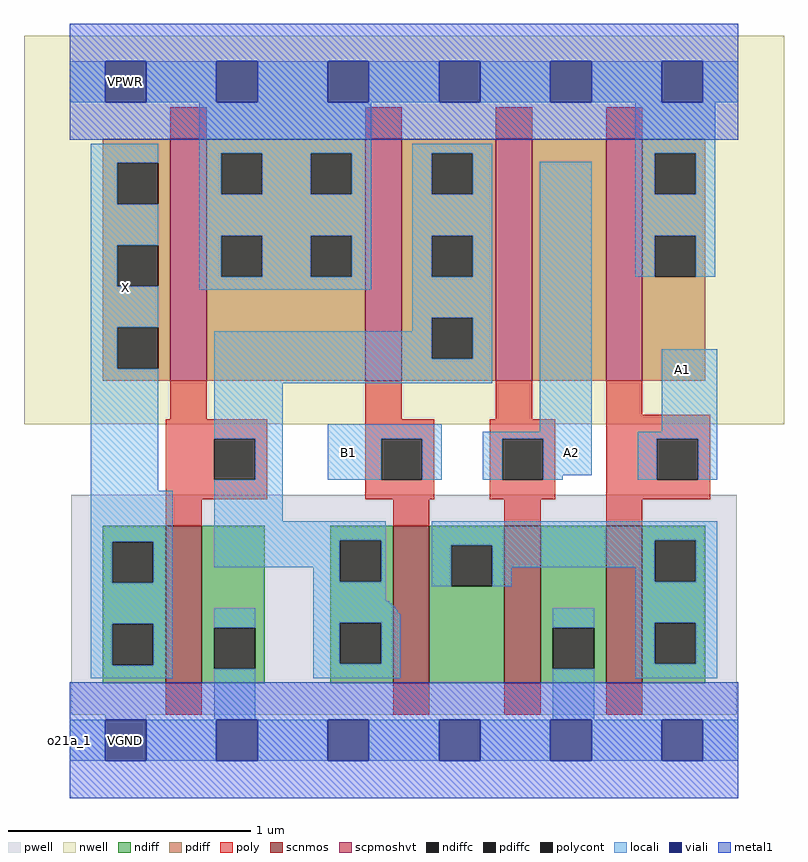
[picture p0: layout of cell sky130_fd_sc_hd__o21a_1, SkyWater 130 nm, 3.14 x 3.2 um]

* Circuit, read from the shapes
.subckt sky130_fd_sc_hd__o21a_1 VGND VPWR VPB VNB A1 A2 B1 X
XM1 VGND n1 X VNB sky130_fd_pr__nfet_01v8 w=0.65 l=0.15
XM2 n2 B1 n1 VNB sky130_fd_pr__nfet_01v8 w=0.65 l=0.15
XM3 VGND A2 n2 VNB sky130_fd_pr__nfet_01v8 w=0.65 l=0.15
XM4 n2 A1 VGND VNB sky130_fd_pr__nfet_01v8 w=0.65 l=0.15
XM5 VPWR n1 X VPB sky130_fd_pr__pfet_01v8_hvt w=1 l=0.15
XM6 n1 B1 VPWR VPB sky130_fd_pr__pfet_01v8_hvt w=1 l=0.15
XM7 n3 A2 n1 VPB sky130_fd_pr__pfet_01v8_hvt w=1 l=0.15
XM8 VPWR A1 n3 VPB sky130_fd_pr__pfet_01v8_hvt w=1 l=0.15
.ends

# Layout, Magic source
magic
tech sky130B
magscale 1 2
<< nwell >>
rect -38 221 590 542
<< pwell >>
rect 1 -19 551 163
rect 29 -57 63 -19
<< scnmos >>
rect 79 7 109 137
rect 267 7 297 137
rect 359 7 389 137
rect 443 7 473 137
<< scpmoshvt >>
rect 83 257 113 457
rect 244 257 274 457
rect 352 257 382 457
rect 443 257 473 457
<< ndiff >>
rect 27 124 79 137
rect 27 90 35 124
rect 69 90 79 124
rect 27 56 79 90
rect 27 22 35 56
rect 69 22 79 56
rect 27 7 79 22
rect 109 53 161 137
rect 109 19 119 53
rect 153 19 161 53
rect 109 7 161 19
rect 215 125 267 137
rect 215 91 223 125
rect 257 91 267 125
rect 215 57 267 91
rect 215 23 223 57
rect 257 23 267 57
rect 215 7 267 23
rect 297 121 359 137
rect 297 87 315 121
rect 349 87 359 121
rect 297 7 359 87
rect 389 53 443 137
rect 389 19 399 53
rect 433 19 443 53
rect 389 7 443 19
rect 473 125 525 137
rect 473 91 483 125
rect 517 91 525 125
rect 473 57 525 91
rect 473 23 483 57
rect 517 23 525 57
rect 473 7 525 23
<< pdiff >>
rect 27 437 83 457
rect 27 403 39 437
rect 73 403 83 437
rect 27 369 83 403
rect 27 335 39 369
rect 73 335 83 369
rect 27 301 83 335
rect 27 267 39 301
rect 73 267 83 301
rect 27 257 83 267
rect 113 445 244 457
rect 113 411 125 445
rect 159 411 199 445
rect 233 411 244 445
rect 113 377 244 411
rect 113 343 125 377
rect 159 343 199 377
rect 233 343 244 377
rect 113 257 244 343
rect 274 445 352 457
rect 274 411 299 445
rect 333 411 352 445
rect 274 377 352 411
rect 274 343 299 377
rect 333 343 352 377
rect 274 309 352 343
rect 274 275 299 309
rect 333 275 352 309
rect 274 257 352 275
rect 382 257 443 457
rect 473 445 525 457
rect 473 411 483 445
rect 517 411 525 445
rect 473 377 525 411
rect 473 343 483 377
rect 517 343 525 377
rect 473 257 525 343
<< ndiffc >>
rect 35 90 69 124
rect 35 22 69 56
rect 119 19 153 53
rect 223 91 257 125
rect 223 23 257 57
rect 315 87 349 121
rect 399 19 433 53
rect 483 91 517 125
rect 483 23 517 57
<< pdiffc >>
rect 39 403 73 437
rect 39 335 73 369
rect 39 267 73 301
rect 125 411 159 445
rect 199 411 233 445
rect 125 343 159 377
rect 199 343 233 377
rect 299 411 333 445
rect 299 343 333 377
rect 299 275 333 309
rect 483 411 517 445
rect 483 343 517 377
<< poly >>
rect 83 457 113 483
rect 244 457 274 483
rect 352 457 382 483
rect 443 457 473 483
rect 83 225 113 257
rect 244 225 274 257
rect 352 225 382 257
rect 443 229 473 257
rect 79 209 163 225
rect 79 175 119 209
rect 153 175 163 209
rect 79 159 163 175
rect 244 209 301 225
rect 244 175 257 209
rect 291 175 301 209
rect 244 159 301 175
rect 347 209 401 225
rect 347 175 357 209
rect 391 175 401 209
rect 347 159 401 175
rect 443 209 529 229
rect 443 175 485 209
rect 519 175 529 209
rect 443 159 529 175
rect 79 137 109 159
rect 267 137 297 159
rect 359 137 389 159
rect 443 137 473 159
rect 79 -19 109 7
rect 267 -19 297 7
rect 359 -19 389 7
rect 443 -19 473 7
<< polycont >>
rect 119 175 153 209
rect 257 175 291 209
rect 357 175 391 209
rect 485 175 519 209
<< locali >>
rect 0 487 29 521
rect 63 487 121 521
rect 155 487 213 521
rect 247 487 305 521
rect 339 487 397 521
rect 431 487 489 521
rect 523 487 552 521
rect 17 437 73 453
rect 17 403 39 437
rect 17 369 73 403
rect 17 335 39 369
rect 17 301 73 335
rect 107 445 249 487
rect 107 411 125 445
rect 159 411 199 445
rect 233 411 249 445
rect 107 377 249 411
rect 107 343 125 377
rect 159 343 199 377
rect 233 343 249 377
rect 107 332 249 343
rect 283 445 349 453
rect 283 411 299 445
rect 333 411 349 445
rect 467 445 533 487
rect 283 377 349 411
rect 283 343 299 377
rect 333 343 349 377
rect 17 267 39 301
rect 283 309 349 343
rect 283 298 299 309
rect 17 166 73 267
rect 119 275 299 298
rect 333 275 349 309
rect 119 255 349 275
rect 119 209 176 255
rect 153 175 176 209
rect 213 209 307 221
rect 388 215 431 438
rect 467 411 483 445
rect 517 411 533 445
rect 467 377 533 411
rect 467 343 483 377
rect 517 343 533 377
rect 489 215 535 283
rect 213 175 257 209
rect 291 175 307 209
rect 341 209 431 215
rect 341 175 357 209
rect 391 179 431 209
rect 469 209 535 215
rect 391 175 407 179
rect 469 175 485 209
rect 519 175 535 209
rect 17 124 85 166
rect 17 90 35 124
rect 69 90 85 124
rect 119 141 176 175
rect 119 125 261 141
rect 119 103 223 125
rect 17 56 85 90
rect 201 91 223 103
rect 257 91 261 125
rect 201 75 261 91
rect 299 125 535 141
rect 299 121 483 125
rect 299 87 315 121
rect 349 103 483 121
rect 349 87 365 103
rect 467 91 483 103
rect 517 91 535 125
rect 201 73 264 75
rect 201 71 266 73
rect 201 70 268 71
rect 17 22 35 56
rect 69 22 85 56
rect 17 11 85 22
rect 119 53 153 69
rect 119 -23 153 19
rect 201 68 269 70
rect 201 67 270 68
rect 201 65 271 67
rect 201 64 272 65
rect 201 57 273 64
rect 201 23 223 57
rect 257 23 273 57
rect 201 11 273 23
rect 399 53 433 69
rect 399 -23 433 19
rect 467 57 535 91
rect 467 23 483 57
rect 517 23 535 57
rect 467 11 535 23
rect 0 -57 29 -23
rect 63 -57 121 -23
rect 155 -57 213 -23
rect 247 -57 305 -23
rect 339 -57 397 -23
rect 431 -57 489 -23
rect 523 -57 552 -23
<< viali >>
rect 29 487 63 521
rect 121 487 155 521
rect 213 487 247 521
rect 305 487 339 521
rect 397 487 431 521
rect 489 487 523 521
rect 29 -57 63 -23
rect 121 -57 155 -23
rect 213 -57 247 -23
rect 305 -57 339 -23
rect 397 -57 431 -23
rect 489 -57 523 -23
<< metal1 >>
rect 0 521 552 552
rect 0 487 29 521
rect 63 487 121 521
rect 155 487 213 521
rect 247 487 305 521
rect 339 487 397 521
rect 431 487 489 521
rect 523 487 552 521
rect 0 456 552 487
rect 0 -23 552 8
rect 0 -57 29 -23
rect 63 -57 121 -23
rect 155 -57 213 -23
rect 247 -57 305 -23
rect 339 -57 397 -23
rect 431 -57 489 -23
rect 523 -57 552 -23
rect 0 -88 552 -57
<< labels >>
rlabel comment s 0 -40 0 -40 4 o21a_1
flabel metal1 s 29 -57 63 -23 0 FreeSans 200 0 0 0 VGND
port 2 nsew
flabel metal1 s 29 487 63 521 0 FreeSans 200 0 0 0 VPWR
port 3 nsew
flabel nwell s 29 487 63 521 0 FreeSans 200 0 0 0 VPB
port 5 nsew
flabel pwell s 29 -57 63 -23 0 FreeSans 200 0 0 0 VNB
port 6 nsew
flabel locali s 29 317 63 351 0 FreeSans 340 0 0 0 X
port 10 nsew
flabel locali s 489 249 523 283 0 FreeSans 340 0 0 0 A1
port 7 nsew
flabel locali s 213 181 247 215 0 FreeSans 340 0 0 0 B1
port 9 nsew
flabel locali s 397 181 431 215 0 FreeSans 340 0 0 0 A2
port 8 nsew
<< properties >>
string FIXED_BBOX 0 -40 552 504
string path 0.000 -1.000 13.800 -1.000 
<< end >>
